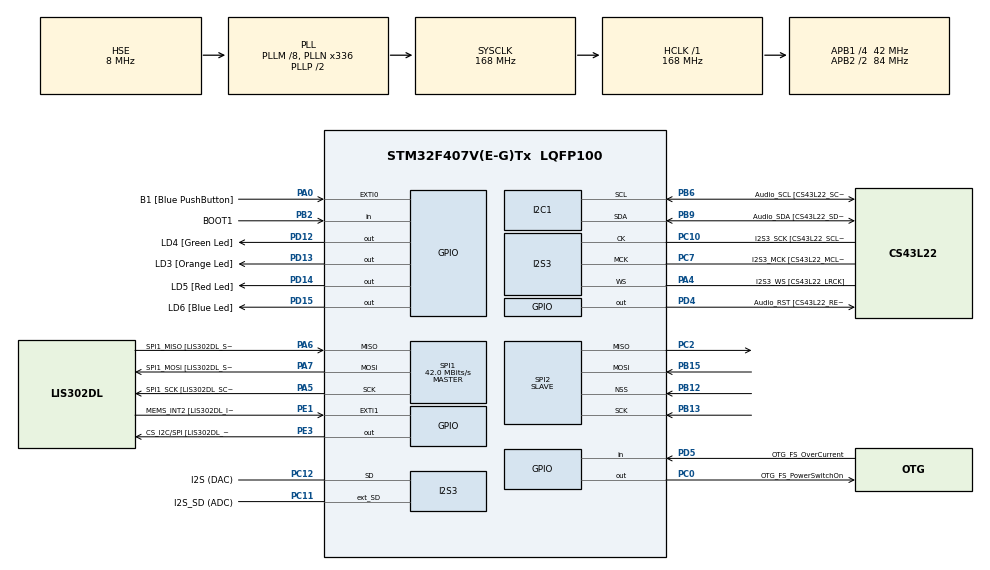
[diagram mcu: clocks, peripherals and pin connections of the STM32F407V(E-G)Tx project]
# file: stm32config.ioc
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Dma.I2S3_EXT_RX.0.Direction=DMA_PERIPH_TO_MEMORY
Dma.I2S3_EXT_RX.0.FIFOMode=DMA_FIFOMODE_DISABLE
Dma.I2S3_EXT_RX.0.Instance=DMA1_Stream0
Dma.I2S3_EXT_RX.0.MemDataAlignment=DMA_MDATAALIGN_WORD
Dma.I2S3_EXT_RX.0.MemInc=DMA_MINC_ENABLE
Dma.I2S3_EXT_RX.0.Mode=DMA_CIRCULAR
Dma.I2S3_EXT_RX.0.PeriphDataAlignment=DMA_PDATAALIGN_WORD
Dma.I2S3_EXT_RX.0.PeriphInc=DMA_PINC_DISABLE
Dma.I2S3_EXT_RX.0.Priority=DMA_PRIORITY_VERY_HIGH
Dma.Request0=I2S3_EXT_RX
Dma.Request1=SPI3_TX
Dma.SPI3_TX.1.Direction=DMA_MEMORY_TO_PERIPH
Dma.SPI3_TX.1.FIFOMode=DMA_FIFOMODE_DISABLE
Dma.SPI3_TX.1.Instance=DMA1_Stream5
Dma.SPI3_TX.1.MemDataAlignment=DMA_MDATAALIGN_WORD
Dma.SPI3_TX.1.MemInc=DMA_MINC_ENABLE
Dma.SPI3_TX.1.Mode=DMA_CIRCULAR
Dma.SPI3_TX.1.PeriphDataAlignment=DMA_PDATAALIGN_WORD
Dma.SPI3_TX.1.PeriphInc=DMA_PINC_DISABLE
Dma.SPI3_TX.1.Priority=DMA_PRIORITY_VERY_HIGH
FREERTOS.Tasks01=defaultTask,0,128,StartDefaultTask,Default,NULL,Dynamic,NULL,NULL
I2S3.AudioFreq=I2S_AUDIOFREQ_48K
I2S3.DataFormat=I2S_DATAFORMAT_24B
I2S3.ErrorAudioFreq=-2.34 %
I2S3.FullDuplexMode=I2S_FULLDUPLEXMODE_ENABLE
I2S3.Instance=SPI$Index
I2S3.RealAudioFreq=46.875 KHz
I2S3.VirtualMode=I2S_MODE_MASTER
Mcu.Family=STM32F4
Mcu.Name=STM32F407V(E-G)Tx
Mcu.Package=LQFP100
NVIC.DMA1_Stream0_IRQn=true\:5\:0\:false\:false\:true\:true\:false\:true\:true
NVIC.DMA1_Stream5_IRQn=true\:5\:0\:false\:false\:true\:true\:false\:true\:true
NVIC.PriorityGroup=NVIC_PRIORITYGROUP_4
NVIC.SPI2_IRQn=true\:5\:0\:false\:false\:true\:true\:true\:true\:true
NVIC.TIM1_UP_TIM10_IRQn=true\:15\:0\:false\:false\:true\:false\:false\:true\:true
NVIC.TimeBase=TIM1_UP_TIM10_IRQn
NVIC.TimeBaseIP=TIM1
PA0-WKUP.GPIO_Label=B1 [Blue PushButton]
PA0-WKUP.GPIO_ModeDefaultEXTI=GPIO_MODE_EVT_RISING
PA0-WKUP.GPIO_PuPd=GPIO_NOPULL
PA0-WKUP.Signal=GPXTI0
PA10.GPIO_Label=OTG_FS_ID
PA10.GPIO_Mode=GPIO_MODE_AF_PP
PA10.GPIO_PuPd=GPIO_NOPULL
PA10.GPIO_Speed=GPIO_SPEED_FREQ_LOW
PA10.Signal=USB_OTG_FS_ID
PA11.GPIO_Label=OTG_FS_DM
PA11.GPIO_Mode=GPIO_MODE_AF_PP
PA11.GPIO_PuPd=GPIO_NOPULL
PA11.GPIO_Speed=GPIO_SPEED_FREQ_LOW
PA11.Signal=USB_OTG_FS_DM
PA12.GPIO_Label=OTG_FS_DP
PA12.GPIO_Mode=GPIO_MODE_AF_PP
PA12.GPIO_PuPd=GPIO_NOPULL
PA12.GPIO_Speed=GPIO_SPEED_FREQ_LOW
PA12.Signal=USB_OTG_FS_DP
PA13.GPIO_Label=SWDIO
PA13.Mode=Serial_Wire
PA13.Signal=SYS_JTMS-SWDIO
PA14.GPIO_Label=SWCLK
PA14.Mode=Serial_Wire
PA14.Signal=SYS_JTCK-SWCLK
PA4.GPIO_Label=I2S3_WS [CS43L22_LRCK]
PA4.GPIO_Mode=GPIO_MODE_AF_PP
PA4.GPIO_PuPd=GPIO_NOPULL
PA4.GPIO_Speed=GPIO_SPEED_FREQ_LOW
PA4.Mode=Full_Duplex_Master
PA4.Signal=I2S3_WS
PA5.GPIO_Label=SPI1_SCK [LIS302DL_SCL/SPC]
PA5.GPIO_Mode=GPIO_MODE_AF_PP
PA5.GPIO_PuPd=GPIO_NOPULL
PA5.GPIO_Speed=GPIO_SPEED_FREQ_LOW
PA5.Mode=Full_Duplex_Master
PA5.Signal=SPI1_SCK
PA6.GPIO_Label=SPI1_MISO [LIS302DL_SDO]
PA6.GPIO_Mode=GPIO_MODE_AF_PP
PA6.GPIO_PuPd=GPIO_NOPULL
PA6.GPIO_Speed=GPIO_SPEED_FREQ_LOW
PA6.Mode=Full_Duplex_Master
PA6.Signal=SPI1_MISO
PA7.GPIO_Label=SPI1_MOSI [LIS302DL_SDA/SDI/SDO]
PA7.GPIO_Mode=GPIO_MODE_AF_PP
PA7.GPIO_PuPd=GPIO_NOPULL
PA7.GPIO_Speed=GPIO_SPEED_FREQ_LOW
PA7.Mode=Full_Duplex_Master
PA7.Signal=SPI1_MOSI
PA9.GPIO_Label=VBUS_FS
PA9.GPIO_Mode=GPIO_MODE_INPUT
PA9.GPIO_PuPd=GPIO_NOPULL
PA9.Signal=USB_OTG_FS_VBUS
PB10.GPIO_Label=CLK_IN [MP45DT02_CLK]
PB10.GPIO_Mode=GPIO_MODE_AF_PP
PB10.GPIO_PuPd=GPIO_NOPULL
PB10.GPIO_Speed=GPIO_SPEED_FREQ_LOW
PB10.Signal=I2S2_CK
PB12.Mode=NSS_Signal_Hard_Input
PB12.Signal=SPI2_NSS
PB13.Mode=Full_Duplex_Slave
PB13.Signal=SPI2_SCK
PB15.Mode=Full_Duplex_Slave
PB15.Signal=SPI2_MOSI
PB2.GPIO_Label=BOOT1
PB2.GPIO_Mode=GPIO_MODE_INPUT
PB2.GPIO_PuPd=GPIO_NOPULL
PB2.Signal=GPIO_Input
PB3.GPIO_Label=SWO
PB3.Signal=SYS_JTDO-SWO
PB6.GPIO_Label=Audio_SCL [CS43L22_SCL]
PB6.GPIO_Mode=GPIO_MODE_AF_OD
PB6.GPIO_Pu=GPIO_PULLUP
PB6.GPIO_PuPd=GPIO_NOPULL
PB6.GPIO_Speed=GPIO_SPEED_FREQ_LOW
PB6.Mode=I2C
PB6.Signal=I2C1_SCL
PB9.GPIO_Label=Audio_SDA [CS43L22_SDA]
PB9.GPIO_Mode=GPIO_MODE_AF_OD
PB9.GPIO_Pu=GPIO_PULLUP
PB9.GPIO_PuPd=GPIO_NOPULL
PB9.GPIO_Speed=GPIO_SPEED_FREQ_LOW
PB9.Mode=I2C
PB9.Signal=I2C1_SDA
PC0.GPIO_Label=OTG_FS_PowerSwitchOn
PC0.GPIO_PuPd=GPIO_NOPULL
PC0.GPIO_Speed=GPIO_SPEED_FREQ_LOW
PC0.PinState=GPIO_PIN_SET
PC0.Signal=GPIO_Output
PC10.GPIO_Label=I2S3_SCK [CS43L22_SCLK]
PC10.GPIO_Mode=GPIO_MODE_AF_PP
PC10.GPIO_PuPd=GPIO_NOPULL
PC10.GPIO_Speed=GPIO_SPEED_FREQ_LOW
PC10.Mode=Full_Duplex_Master
PC10.Signal=I2S3_CK
PC11.GPIO_Label=I2S_SD (ADC)
PC11.Mode=Full_Duplex_Master
PC11.Signal=I2S3_ext_SD
PC12.GPIO_Label=I2S (DAC)
PC12.GPIO_Mode=GPIO_MODE_AF_PP
PC12.GPIO_PuPd=GPIO_NOPULL
PC12.GPIO_Speed=GPIO_SPEED_FREQ_LOW
PC12.Mode=Full_Duplex_Master
PC12.Signal=I2S3_SD
PC14-OSC32_IN.GPIO_Label=PC14-OSC32_IN
PC14-OSC32_IN.Mode=LSE-External-Oscillator
PC14-OSC32_IN.Signal=RCC_OSC32_IN
PC15-OSC32_OUT.GPIO_Label=PC15-OSC32_OUT
PC15-OSC32_OUT.Mode=LSE-External-Oscillator
PC15-OSC32_OUT.Signal=RCC_OSC32_OUT
PC2.Mode=Full_Duplex_Slave
PC2.Signal=SPI2_MISO
PC3.GPIO_Label=PDM_OUT [MP45DT02_DOUT]
PC3.GPIO_Mode=GPIO_MODE_AF_PP
PC3.GPIO_PuPd=GPIO_NOPULL
PC3.GPIO_Speed=GPIO_SPEED_FREQ_LOW
PC3.Signal=I2S2_SD
PC7.GPIO_Label=I2S3_MCK [CS43L22_MCLK]
PC7.GPIO_Mode=GPIO_MODE_AF_PP
PC7.GPIO_PuPd=GPIO_NOPULL
PC7.GPIO_Speed=GPIO_SPEED_FREQ_LOW
PC7.Mode=Master_Clock_Activated
PC7.Signal=I2S3_MCK
PD12.GPIO_Label=LD4 [Green Led]
PD12.GPIO_PuPd=GPIO_NOPULL
PD12.GPIO_Speed=GPIO_SPEED_FREQ_LOW
PD12.Signal=GPIO_Output
PD13.GPIO_Label=LD3 [Orange Led]
PD13.GPIO_PuPd=GPIO_NOPULL
PD13.GPIO_Speed=GPIO_SPEED_FREQ_LOW
PD13.Signal=GPIO_Output
PD14.GPIO_Label=LD5 [Red Led]
PD14.GPIO_PuPd=GPIO_NOPULL
PD14.GPIO_Speed=GPIO_SPEED_FREQ_LOW
PD14.Signal=GPIO_Output
PD15.GPIO_Label=LD6 [Blue Led]
PD15.GPIO_PuPd=GPIO_NOPULL
PD15.GPIO_Speed=GPIO_SPEED_FREQ_LOW
PD15.Signal=GPIO_Output
PD4.GPIO_Label=Audio_RST [CS43L22_RESET]
PD4.GPIO_PuPd=GPIO_NOPULL
PD4.GPIO_Speed=GPIO_SPEED_FREQ_LOW
PD4.Signal=GPIO_Output
PD5.GPIO_Label=OTG_FS_OverCurrent
PD5.GPIO_Mode=GPIO_MODE_INPUT
PD5.GPIO_PuPd=GPIO_NOPULL
PD5.Signal=GPIO_Input
PE1.GPIO_Label=MEMS_INT2 [LIS302DL_INT2]
PE1.GPIO_ModeDefaultEXTI=GPIO_MODE_EVT_RISING
PE1.GPIO_PuPd=GPIO_NOPULL
PE1.Signal=GPXTI1
PE3.GPIO_Label=CS_I2C/SPI [LIS302DL_CS_I2C/SPI]
PE3.GPIO_PuPd=GPIO_NOPULL
PE3.GPIO_Speed=GPIO_SPEED_FREQ_LOW
PE3.Signal=GPIO_Output
PH0-OSC_IN.GPIO_Label=PH0-OSC_IN
PH0-OSC_IN.Mode=HSE-External-Oscillator
PH0-OSC_IN.Signal=RCC_OSC_IN
PH1-OSC_OUT.GPIO_Label=PH1-OSC_OUT
PH1-OSC_OUT.Mode=HSE-External-Oscillator
PH1-OSC_OUT.Signal=RCC_OSC_OUT
ProjectManager.HeapSize=0x200
ProjectManager.StackSize=0x400
ProjectManager.TargetToolchain=Makefile
RCC.48MHZClocksFreq_Value=48000000
RCC.AHBFreq_Value=168000000
RCC.APB1CLKDivider=RCC_HCLK_DIV4
RCC.APB1Freq_Value=42000000
RCC.APB1TimFreq_Value=84000000
RCC.APB2CLKDivider=RCC_HCLK_DIV2
RCC.APB2Freq_Value=84000000
RCC.APB2TimFreq_Value=168000000
RCC.CortexFreq_Value=168000000
RCC.HCLKFreq_Value=168000000
RCC.HSE_VALUE=8000000
RCC.HSI_VALUE=16000000
RCC.PLLM=8
RCC.PLLN=336
RCC.PLLQ=7
RCC.PLLSourceVirtual=RCC_PLLSOURCE_HSE
RCC.SYSCLKFreq_VALUE=168000000
RCC.SYSCLKSource=RCC_SYSCLKSOURCE_PLLCLK
RCC.VCOOutputFreq_Value=336000000
SPI1.BaudRatePrescaler-Full_Duplex_Master=SPI_BAUDRATEPRESCALER_2
SPI1.CalculateBaudRate=42.0 MBits/s
SPI1.CalculateBaudRate-Full_Duplex_Master=42.0 MBits/s
SPI1.Direction=SPI_DIRECTION_2LINES
SPI1.Mode=SPI_MODE_MASTER
SPI1.Mode-Full_Duplex_Master=SPI_MODE_MASTER
SPI1.VirtualType=VM_MASTER
SPI2.Direction=SPI_DIRECTION_2LINES
SPI2.Mode=SPI_MODE_SLAVE
SPI2.VirtualNSS=VM_NSSHARD
SPI2.VirtualType=VM_SLAVE
VP_FREERTOS_VS_CMSIS_V1.Mode=CMSIS_V1
VP_SYS_VS_tim1.Mode=TIM1
board=STM32F407G-DISC1

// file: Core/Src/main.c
/* USER CODE BEGIN Header */
/**
  ******************************************************************************
  * @file           : main.c
  * @brief          : Main program body
  ******************************************************************************
  * @attention
  *
  * Copyright (c) 2026 STMicroelectronics.
  * All rights reserved.
  *
  * This software is licensed under terms that can be found in the LICENSE file
  * in the root directory of this software component.
  * If no LICENSE file comes with this software, it is provided AS-IS.
  *
  ******************************************************************************
  */
/* USER CODE END Header */
#include "main.h"
#include "cmsis_os.h"

/* USER CODE BEGIN Includes */
#include "dsp_task.h"
#include "spi_task.h"
/* USER CODE END Includes */

I2C_HandleTypeDef hi2c1;

I2S_HandleTypeDef hi2s3;
DMA_HandleTypeDef hdma_i2s3_ext_rx;
DMA_HandleTypeDef hdma_spi3_tx;

SPI_HandleTypeDef hspi1;
SPI_HandleTypeDef hspi2;

osThreadId defaultTaskHandle;
/* USER CODE BEGIN PV */
osThreadId       dspTaskHandle;
osThreadId       spiTaskHandle;
osMessageQId     spiQueueHandle;

volatile uint8_t spi_rx_buf[SPI_PKT_SIZE];
/* USER CODE END PV */

void SystemClock_Config(void);
static void MX_GPIO_Init(void);
static void MX_DMA_Init(void);
static void MX_I2C1_Init(void);
static void MX_I2S3_Init(void);
static void MX_SPI1_Init(void);
static void MX_SPI2_Init(void);
void StartDefaultTask(void const * argument);

int main(void)
{

  /* MCU Configuration--------------------------------------------------------*/

  /* Reset of all peripherals, Initializes the Flash interface and the Systick. */
  HAL_Init();

  /* Configure the system clock */
  SystemClock_Config();

  /* Initialize all configured peripherals */
  MX_GPIO_Init();
  MX_DMA_Init();
  MX_I2C1_Init();
  MX_I2S3_Init();
  MX_SPI1_Init();
  MX_SPI2_Init();

  /* USER CODE BEGIN RTOS_MUTEX */
  osMutexDef(paramsMutex);
  g_params_mutex = osMutexCreate(osMutex(paramsMutex));
  /* USER CODE END RTOS_MUTEX */

  /* USER CODE BEGIN RTOS_QUEUES */
  osMessageQDef(spiQueue, 4, uint32_t);
  spiQueueHandle = osMessageCreate(osMessageQ(spiQueue), NULL);

  /* USER CODE END RTOS_QUEUES */

  /* Create the thread(s) */
  /* definition and creation of defaultTask */
  osThreadDef(defaultTask, StartDefaultTask, osPriorityNormal, 0, 128);
  defaultTaskHandle = osThreadCreate(osThread(defaultTask), NULL);

  /* USER CODE BEGIN RTOS_THREADS */
  osThreadDef(dspTask, StartDSPTask, osPriorityRealtime, 0, 512);
  dspTaskHandle = osThreadCreate(osThread(dspTask), NULL);

  osThreadDef(spiTask, StartSPITask, osPriorityAboveNormal, 0, 512);
  spiTaskHandle = osThreadCreate(osThread(spiTask), NULL);

  /* USER CODE END RTOS_THREADS */

  /* Start scheduler */
  osKernelStart();

  /* We should never get here as control is now taken by the scheduler */

  /* Infinite loop */
  while (1)
  {

  }
}

void SystemClock_Config(void)
{
  RCC_OscInitTypeDef RCC_OscInitStruct = {0};
  RCC_ClkInitTypeDef RCC_ClkInitStruct = {0};

  /** Configure the main internal regulator output voltage
  */
  __HAL_RCC_PWR_CLK_ENABLE();
  __HAL_PWR_VOLTAGESCALING_CONFIG(PWR_REGULATOR_VOLTAGE_SCALE1);

  /** Initializes the RCC Oscillators according to the specified parameters
  * in the RCC_OscInitTypeDef structure.
  */
  RCC_OscInitStruct.OscillatorType = RCC_OSCILLATORTYPE_HSE;
  RCC_OscInitStruct.HSEState = RCC_HSE_ON;
  RCC_OscInitStruct.PLL.PLLState = RCC_PLL_ON;
  RCC_OscInitStruct.PLL.PLLSource = RCC_PLLSOURCE_HSE;
  RCC_OscInitStruct.PLL.PLLM = 8;
  RCC_OscInitStruct.PLL.PLLN = 336;
  RCC_OscInitStruct.PLL.PLLP = RCC_PLLP_DIV2;
  RCC_OscInitStruct.PLL.PLLQ = 7;
  if (HAL_RCC_OscConfig(&RCC_OscInitStruct) != HAL_OK)
  {
    Error_Handler();
  }

  /** Initializes the CPU, AHB and APB buses clocks
  */
  RCC_ClkInitStruct.ClockType = RCC_CLOCKTYPE_HCLK|RCC_CLOCKTYPE_SYSCLK
                              |RCC_CLOCKTYPE_PCLK1|RCC_CLOCKTYPE_PCLK2;
  RCC_ClkInitStruct.SYSCLKSource = RCC_SYSCLKSOURCE_PLLCLK;
  RCC_ClkInitStruct.AHBCLKDivider = RCC_SYSCLK_DIV1;
  RCC_ClkInitStruct.APB1CLKDivider = RCC_HCLK_DIV4;
  RCC_ClkInitStruct.APB2CLKDivider = RCC_HCLK_DIV2;

  if (HAL_RCC_ClockConfig(&RCC_ClkInitStruct, FLASH_LATENCY_5) != HAL_OK)
  {
    Error_Handler();
  }
}

static void MX_I2C1_Init(void)
{

  hi2c1.Instance = I2C1;
  hi2c1.Init.ClockSpeed = 100000;
  hi2c1.Init.DutyCycle = I2C_DUTYCYCLE_2;
  hi2c1.Init.OwnAddress1 = 0;
  hi2c1.Init.AddressingMode = I2C_ADDRESSINGMODE_7BIT;
  hi2c1.Init.DualAddressMode = I2C_DUALADDRESS_DISABLE;
  hi2c1.Init.OwnAddress2 = 0;
  hi2c1.Init.GeneralCallMode = I2C_GENERALCALL_DISABLE;
  hi2c1.Init.NoStretchMode = I2C_NOSTRETCH_DISABLE;
  if (HAL_I2C_Init(&hi2c1) != HAL_OK)
  {
    Error_Handler();
  }

}

static void MX_I2S3_Init(void)
{

  hi2s3.Instance = SPI3;
  hi2s3.Init.Mode = I2S_MODE_MASTER_TX;
  hi2s3.Init.Standard = I2S_STANDARD_PHILIPS;
  hi2s3.Init.DataFormat = I2S_DATAFORMAT_24B;
  hi2s3.Init.MCLKOutput = I2S_MCLKOUTPUT_ENABLE;
  hi2s3.Init.AudioFreq = I2S_AUDIOFREQ_48K;
  hi2s3.Init.CPOL = I2S_CPOL_LOW;
  hi2s3.Init.ClockSource = I2S_CLOCK_PLL;
  hi2s3.Init.FullDuplexMode = I2S_FULLDUPLEXMODE_ENABLE;
  if (HAL_I2S_Init(&hi2s3) != HAL_OK)
  {
    Error_Handler();
  }

}

static void MX_SPI1_Init(void)
{

  /* SPI1 parameter configuration*/
  hspi1.Instance = SPI1;
  hspi1.Init.Mode = SPI_MODE_MASTER;
  hspi1.Init.Direction = SPI_DIRECTION_2LINES;
  hspi1.Init.DataSize = SPI_DATASIZE_8BIT;
  hspi1.Init.CLKPolarity = SPI_POLARITY_LOW;
  hspi1.Init.CLKPhase = SPI_PHASE_1EDGE;
  hspi1.Init.NSS = SPI_NSS_SOFT;
  hspi1.Init.BaudRatePrescaler = SPI_BAUDRATEPRESCALER_2;
  hspi1.Init.FirstBit = SPI_FIRSTBIT_MSB;
  hspi1.Init.TIMode = SPI_TIMODE_DISABLE;
  hspi1.Init.CRCCalculation = SPI_CRCCALCULATION_DISABLE;
  hspi1.Init.CRCPolynomial = 10;
  if (HAL_SPI_Init(&hspi1) != HAL_OK)
  {
    Error_Handler();
  }

}

static void MX_SPI2_Init(void)
{

  /* SPI2 parameter configuration*/
  hspi2.Instance = SPI2;
  hspi2.Init.Mode = SPI_MODE_SLAVE;
  hspi2.Init.Direction = SPI_DIRECTION_2LINES;
  hspi2.Init.DataSize = SPI_DATASIZE_8BIT;
  hspi2.Init.CLKPolarity = SPI_POLARITY_LOW;
  hspi2.Init.CLKPhase = SPI_PHASE_1EDGE;
  hspi2.Init.NSS = SPI_NSS_HARD_INPUT;
  hspi2.Init.FirstBit = SPI_FIRSTBIT_MSB;
  hspi2.Init.TIMode = SPI_TIMODE_DISABLE;
  hspi2.Init.CRCCalculation = SPI_CRCCALCULATION_DISABLE;
  hspi2.Init.CRCPolynomial = 10;
  if (HAL_SPI_Init(&hspi2) != HAL_OK)
  {
    Error_Handler();
  }

}

static void MX_DMA_Init(void)
{

  /* DMA controller clock enable */
  __HAL_RCC_DMA1_CLK_ENABLE();

  /* DMA interrupt init */
  /* DMA1_Stream0_IRQn interrupt configuration */
  HAL_NVIC_SetPriority(DMA1_Stream0_IRQn, 5, 0);
  HAL_NVIC_EnableIRQ(DMA1_Stream0_IRQn);
  /* DMA1_Stream5_IRQn interrupt configuration */
  HAL_NVIC_SetPriority(DMA1_Stream5_IRQn, 5, 0);
  HAL_NVIC_EnableIRQ(DMA1_Stream5_IRQn);

}

static void MX_GPIO_Init(void)
{
  GPIO_InitTypeDef GPIO_InitStruct = {0};

  /* GPIO Ports Clock Enable */
  __HAL_RCC_GPIOE_CLK_ENABLE();
  __HAL_RCC_GPIOC_CLK_ENABLE();
  __HAL_RCC_GPIOH_CLK_ENABLE();
  __HAL_RCC_GPIOA_CLK_ENABLE();
  __HAL_RCC_GPIOB_CLK_ENABLE();
  __HAL_RCC_GPIOD_CLK_ENABLE();

  /*Configure GPIO pin Output Level */
  HAL_GPIO_WritePin(CS_I2C_SPI_GPIO_Port, CS_I2C_SPI_Pin, GPIO_PIN_RESET);

  /*Configure GPIO pin Output Level */
  HAL_GPIO_WritePin(OTG_FS_PowerSwitchOn_GPIO_Port, OTG_FS_PowerSwitchOn_Pin, GPIO_PIN_SET);

  /*Configure GPIO pin Output Level */
  HAL_GPIO_WritePin(GPIOD, LD4_Pin|LD3_Pin|LD5_Pin|LD6_Pin
                          |Audio_RST_Pin, GPIO_PIN_RESET);

  /*Configure GPIO pin : CS_I2C_SPI_Pin */
  GPIO_InitStruct.Pin = CS_I2C_SPI_Pin;
  GPIO_InitStruct.Mode = GPIO_MODE_OUTPUT_PP;
  GPIO_InitStruct.Pull = GPIO_NOPULL;
  GPIO_InitStruct.Speed = GPIO_SPEED_FREQ_LOW;
  HAL_GPIO_Init(CS_I2C_SPI_GPIO_Port, &GPIO_InitStruct);

  /*Configure GPIO pin : OTG_FS_PowerSwitchOn_Pin */
  GPIO_InitStruct.Pin = OTG_FS_PowerSwitchOn_Pin;
  GPIO_InitStruct.Mode = GPIO_MODE_OUTPUT_PP;
  GPIO_InitStruct.Pull = GPIO_NOPULL;
  GPIO_InitStruct.Speed = GPIO_SPEED_FREQ_LOW;
  HAL_GPIO_Init(OTG_FS_PowerSwitchOn_GPIO_Port, &GPIO_InitStruct);

  /*Configure GPIO pin : PDM_OUT_Pin */
  GPIO_InitStruct.Pin = PDM_OUT_Pin;
  GPIO_InitStruct.Mode = GPIO_MODE_AF_PP;
  GPIO_InitStruct.Pull = GPIO_NOPULL;
  GPIO_InitStruct.Speed = GPIO_SPEED_FREQ_LOW;
  GPIO_InitStruct.Alternate = GPIO_AF5_SPI2;
  HAL_GPIO_Init(PDM_OUT_GPIO_Port, &GPIO_InitStruct);

  /*Configure GPIO pin : B1_Pin */
  GPIO_InitStruct.Pin = B1_Pin;
  GPIO_InitStruct.Mode = GPIO_MODE_EVT_RISING;
  GPIO_InitStruct.Pull = GPIO_NOPULL;
  HAL_GPIO_Init(B1_GPIO_Port, &GPIO_InitStruct);

  /*Configure GPIO pin : BOOT1_Pin */
  GPIO_InitStruct.Pin = BOOT1_Pin;
  GPIO_InitStruct.Mode = GPIO_MODE_INPUT;
  GPIO_InitStruct.Pull = GPIO_NOPULL;
  HAL_GPIO_Init(BOOT1_GPIO_Port, &GPIO_InitStruct);

  /*Configure GPIO pin : CLK_IN_Pin */
  GPIO_InitStruct.Pin = CLK_IN_Pin;
  GPIO_InitStruct.Mode = GPIO_MODE_AF_PP;
  GPIO_InitStruct.Pull = GPIO_NOPULL;
  GPIO_InitStruct.Speed = GPIO_SPEED_FREQ_LOW;
  GPIO_InitStruct.Alternate = GPIO_AF5_SPI2;
  HAL_GPIO_Init(CLK_IN_GPIO_Port, &GPIO_InitStruct);

  /*Configure GPIO pins : LD4_Pin LD3_Pin LD5_Pin LD6_Pin
                           Audio_RST_Pin */
  GPIO_InitStruct.Pin = LD4_Pin|LD3_Pin|LD5_Pin|LD6_Pin
                          |Audio_RST_Pin;
  GPIO_InitStruct.Mode = GPIO_MODE_OUTPUT_PP;
  GPIO_InitStruct.Pull = GPIO_NOPULL;
  GPIO_InitStruct.Speed = GPIO_SPEED_FREQ_LOW;
  HAL_GPIO_Init(GPIOD, &GPIO_InitStruct);

  /*Configure GPIO pin : VBUS_FS_Pin */
  GPIO_InitStruct.Pin = VBUS_FS_Pin;
  GPIO_InitStruct.Mode = GPIO_MODE_INPUT;
  GPIO_InitStruct.Pull = GPIO_NOPULL;
  HAL_GPIO_Init(VBUS_FS_GPIO_Port, &GPIO_InitStruct);

  /*Configure GPIO pins : OTG_FS_ID_Pin OTG_FS_DM_Pin OTG_FS_DP_Pin */
  GPIO_InitStruct.Pin = OTG_FS_ID_Pin|OTG_FS_DM_Pin|OTG_FS_DP_Pin;
  GPIO_InitStruct.Mode = GPIO_MODE_AF_PP;
  GPIO_InitStruct.Pull = GPIO_NOPULL;
  GPIO_InitStruct.Speed = GPIO_SPEED_FREQ_LOW;
  GPIO_InitStruct.Alternate = GPIO_AF10_OTG_FS;
  HAL_GPIO_Init(GPIOA, &GPIO_InitStruct);

  /*Configure GPIO pin : OTG_FS_OverCurrent_Pin */
  GPIO_InitStruct.Pin = OTG_FS_OverCurrent_Pin;
  GPIO_InitStruct.Mode = GPIO_MODE_INPUT;
  GPIO_InitStruct.Pull = GPIO_NOPULL;
  HAL_GPIO_Init(OTG_FS_OverCurrent_GPIO_Port, &GPIO_InitStruct);

  /*Configure GPIO pin : MEMS_INT2_Pin */
  GPIO_InitStruct.Pin = MEMS_INT2_Pin;
  GPIO_InitStruct.Mode = GPIO_MODE_EVT_RISING;
  GPIO_InitStruct.Pull = GPIO_NOPULL;
  HAL_GPIO_Init(MEMS_INT2_GPIO_Port, &GPIO_InitStruct);

}

/* USER CODE BEGIN 4 */
void HAL_SPI_RxCpltCallback(SPI_HandleTypeDef *hspi)
{
    if (hspi->Instance == SPI2)
    {
        uint32_t msg = ((uint32_t)spi_rx_buf[0] << 8) | spi_rx_buf[1];
        osMessagePut(spiQueueHandle, msg, 0);
        HAL_GPIO_TogglePin(GPIOD, LD6_Pin);
        HAL_SPI_Receive_IT(&hspi2, (uint8_t *)spi_rx_buf, SPI_PKT_SIZE);
    }
}

void HAL_SPI_ErrorCallback(SPI_HandleTypeDef *hspi)
{
    if (hspi->Instance == SPI2)
    {
        /* HAL IT mode resets state before calling this; just re-arm. */
        HAL_SPI_Receive_IT(&hspi2, (uint8_t *)spi_rx_buf, SPI_PKT_SIZE);
    }
}
/* USER CODE END 4 */

void StartDefaultTask(void const * argument)
{
  /* USER CODE BEGIN 5 */
  /* Infinite loop */
  for(;;)
  {
    HAL_GPIO_TogglePin(GPIOD, GPIO_PIN_12);
    osDelay(500);
  }
  /* USER CODE END 5 */
}

void HAL_TIM_PeriodElapsedCallback(TIM_HandleTypeDef *htim)
{
  if (htim->Instance == TIM1)
  {
    HAL_IncTick();
  }
}

void Error_Handler(void)
{
  __disable_irq();
  while (1)
  {
  }
}
